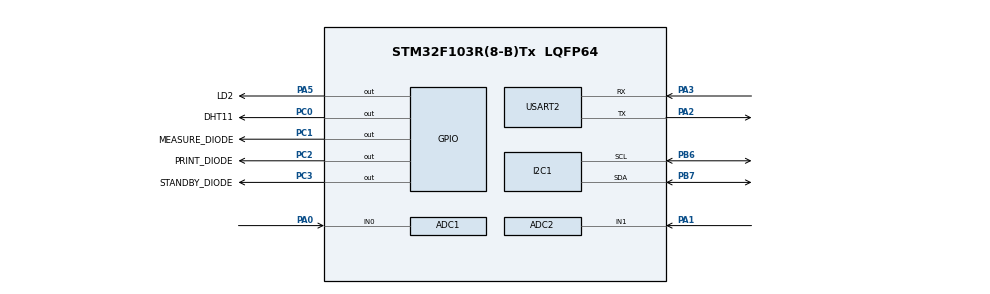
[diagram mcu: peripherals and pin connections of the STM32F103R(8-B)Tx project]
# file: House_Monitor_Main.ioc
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ADC1.Channel-0\#ChannelRegularConversion=ADC_CHANNEL_0
ADC1.ContinuousConvMode=DISABLE
ADC1.NbrOfConversion=1
ADC1.NbrOfConversionFlag=1
ADC1.Rank-0\#ChannelRegularConversion=1
ADC1.SamplingTime-0\#ChannelRegularConversion=ADC_SAMPLETIME_239CYCLES_5
ADC1.master=1
ADC2.Channel-1\#ChannelRegularConversion=ADC_CHANNEL_1
ADC2.NbrOfConversionFlag=1
ADC2.Rank-1\#ChannelRegularConversion=1
ADC2.SamplingTime-1\#ChannelRegularConversion=ADC_SAMPLETIME_1CYCLE_5
IWDG.Prescaler=IWDG_PRESCALER_64
Mcu.Family=STM32F1
Mcu.Name=STM32F103R(8-B)Tx
Mcu.Package=LQFP64
NVIC.PriorityGroup=NVIC_PRIORITYGROUP_4
PA0-WKUP.Signal=ADCx_IN0
PA1.Signal=ADCx_IN1
PA13.Mode=Serial_Wire
PA13.Signal=SYS_JTMS-SWDIO
PA14.Mode=Serial_Wire
PA14.Signal=SYS_JTCK-SWCLK
PA2.Mode=Asynchronous
PA2.Signal=USART2_TX
PA3.Mode=Asynchronous
PA3.Signal=USART2_RX
PA5.GPIO_Label=LD2
PA5.Signal=GPIO_Output
PB6.Mode=I2C
PB6.Signal=I2C1_SCL
PB7.Mode=I2C
PB7.Signal=I2C1_SDA
PC0.GPIO_Label=DHT11
PC0.GPIO_ModeDefaultOutputPP=GPIO_MODE_OUTPUT_OD
PC0.GPIO_PuPd=GPIO_NOPULL
PC0.PinState=GPIO_PIN_SET
PC0.Signal=GPIO_Output
PC1.GPIO_Label=MEASURE_DIODE
PC1.Signal=GPIO_Output
PC2.GPIO_Label=PRINT_DIODE
PC2.Signal=GPIO_Output
PC3.GPIO_Label=STANDBY_DIODE
PC3.Signal=GPIO_Output
ProjectManager.HeapSize=0x200
ProjectManager.StackSize=0x400
ProjectManager.TargetToolchain=STM32CubeIDE
RCC.APB1Freq_Value=8000000
RCC.APB2Freq_Value=8000000
SH.ADCx_IN0.0=ADC1_IN0,IN0
SH.ADCx_IN1.0=ADC2_IN1,IN1
TIM2.Prescaler=7
USART2.VirtualMode=VM_ASYNC
VP_IWDG_VS_IWDG.Mode=IWDG_Activate
VP_RTC_VS_RTC_Activate.Mode=RTC_Enabled
VP_TIM2_VS_ClockSourceINT.Mode=Internal
board=custom

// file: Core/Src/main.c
/* USER CODE BEGIN Header */
/**
  ******************************************************************************
  * @file           : main.c
  * @brief          : Main program body
  ******************************************************************************
  * @attention
  *
  * Copyright (c) 2024 STMicroelectronics.
  * All rights reserved.
  *
  * This software is licensed under terms that can be found in the LICENSE file
  * in the root directory of this software component.
  * If no LICENSE file comes with this software, it is provided AS-IS.
  *
  ******************************************************************************
  */
/* USER CODE END Header */
#include "main.h"
#include "adc.h"
#include "i2c.h"
#include "iwdg.h"
#include "rtc.h"
#include "tim.h"
#include "usart.h"
#include "gpio.h"

/* USER CODE BEGIN Includes */
#include "lps25hb.h"
#include "dht11.h"
#include "eeprom.h"
#include <stdio.h>
#include <math.h>
/* USER CODE END Includes */

/* USER CODE BEGIN PD */
#define SUPPLIED_VOLTAGE 3.3f

#define FIXED_PHOTORESISTOR_RESISTANCE 1000.0f
#define PHOTORESISTOR_EXPONENT 0.95f
#define PHOTORESISTOR_MULTIPLIER 7000000.0f

#define LIGHT_START_ADDR 0x00
#define LIGHT_END_ADDR 0x1F
#define TEMP_START_ADDR 0x20
#define TEMP_END_ADDR 0x3F
#define PRESSURE_START_ADDR 0x40
#define PRESSURE_END_ADDR 0x5F
#define HUMIDITY_START_ADDR 0x60
#define HUMIDITY_END_ADDR 0x7F

#define PRINT_MODE 0b100
#define STANDBY_MODE 0b010
#define MEASURE_MODE 0b001
/* USER CODE END PD */

/* USER CODE BEGIN PV */
static uint8_t current_light_waddr = LIGHT_START_ADDR;
static uint8_t current_temp_waddr = TEMP_START_ADDR;
static uint8_t current_press_waddr = PRESSURE_START_ADDR;
static uint8_t current_humi_waddr = HUMIDITY_START_ADDR;
/* USER CODE END PV */

void SystemClock_Config(void);

/* USER CODE BEGIN 0 */

// Redirecting chars in printf statements to USART2
int __io_putchar(int ch)
{
	if (ch == '\n')
		__io_putchar('\r');

	HAL_UART_Transmit(&huart2, (uint8_t*)&ch, 1, HAL_MAX_DELAY);
	return 1;
}

static float decode_light(uint16_t raw_value)
{
	return raw_value * 100.0f / 4096.0f;
}

static float decode_temperature(uint16_t raw_value)
{
	return raw_value / 100.0f;
}

static float decode_pressure(uint16_t raw_value)
{
	return raw_value / 10.0f;
}

static float decode_humidity(uint16_t raw_value)
{
	return raw_value / 100.0f;
}

static float merge_int_dec_part(const float integer_part, const float decimal_part)
{
	float result = integer_part;

	if (decimal_part <= 100)
		result += decimal_part / 100.0f;
	else
		result += decimal_part / 1000.0f;

	return result;
}

static HAL_StatusTypeDef Write_Measured_Data(const uint16_t phot, const uint16_t temp, const uint16_t press, const uint16_t humi)
{
	uint8_t phot_high = (phot >> 8) & 0xFF;
	uint8_t phot_low = phot & 0xFF;

	uint8_t temp_high = (temp >> 8) & 0xFF;
	uint8_t temp_low = temp & 0xFF;

	uint8_t press_high = (press >> 8) & 0xFF;
	uint8_t press_low = press & 0xFF;

	uint8_t humi_high = (humi >> 8) & 0xFF;
	uint8_t humi_low = humi & 0xFF;

	if (EEPROM_Write(current_light_waddr, (const void*)&phot_high, sizeof(phot_high)) != HAL_OK)
		return HAL_ERROR;

	if (EEPROM_Write(current_light_waddr + 1, (const void*)&phot_low, sizeof(phot_low)) != HAL_OK)
		return HAL_ERROR;

	current_light_waddr += 2;
	if (current_light_waddr > LIGHT_END_ADDR)
		current_light_waddr = LIGHT_START_ADDR;

	if (EEPROM_Write(current_temp_waddr, (const void*)&temp_high, sizeof(temp_high)) != HAL_OK)
		return HAL_ERROR;

	if (EEPROM_Write(current_temp_waddr + 1, (const void*)&temp_low, sizeof(temp_low)) != HAL_OK)
		return HAL_ERROR;

	current_temp_waddr += 2;
	if (current_temp_waddr > TEMP_END_ADDR)
		current_temp_waddr = TEMP_START_ADDR;

	if (EEPROM_Write(current_press_waddr, (const void*)&press_high, sizeof(press_high)) != HAL_OK)
		return HAL_ERROR;

	if (EEPROM_Write(current_press_waddr + 1, (const void*)&press_low, sizeof(press_low)) != HAL_OK)
		return HAL_ERROR;

	current_press_waddr += 2;
	if (current_press_waddr > PRESSURE_END_ADDR)
		current_press_waddr = PRESSURE_START_ADDR;

	if (EEPROM_Write(current_humi_waddr, (const void*)&humi_high, sizeof(humi_high)) != HAL_OK)
		return HAL_ERROR;

	if (EEPROM_Write(current_humi_waddr + 1, (const void*)&humi_low, sizeof(humi_low)) != HAL_OK)
		return HAL_ERROR;

	current_humi_waddr += 2;
	if (current_humi_waddr > HUMIDITY_END_ADDR)
		current_humi_waddr = HUMIDITY_START_ADDR;

	return HAL_OK;
}

static HAL_StatusTypeDef Read_Measured_Data(uint16_t* data, uint8_t addr)
{
	uint8_t buffor[2] = {0};

	if (EEPROM_Read(addr, (void*)buffor, sizeof(buffor)) != HAL_OK)
		return HAL_ERROR;

	*data = (uint16_t)buffor[0] << 8 | buffor[1];

	return HAL_OK;
}

static HAL_StatusTypeDef Take_Measurements(uint16_t* phot, uint16_t* temp, uint16_t* press, uint16_t* humi)
{
	uint8_t dht_vals[4] = {0};

	if (DHT11_Read(dht_vals) != HAL_OK)
		return HAL_ERROR;

	HAL_ADC_Start(&hadc1);
	HAL_ADC_PollForConversion(&hadc1, HAL_MAX_DELAY);
	*phot = HAL_ADC_GetValue(&hadc1);

	float lps_temp = LPS_Read_Temp();
	float dht_temp = merge_int_dec_part((float)dht_vals[2], (float)dht_vals[3]);
	float average_temp = (lps_temp + dht_temp) / 2.0f;
	*temp = average_temp * 100;

	float pressure = LPS_Read_Pressure();
	*press = pressure * 10;

	float humidity = merge_int_dec_part((float)dht_vals[0], (float)dht_vals[1]);
	*humi = humidity * 100;

	return HAL_OK;
}

static HAL_StatusTypeDef Print_Measured_Data(uint8_t current_addr, uint8_t max_addr, float (*decode_fnc)(uint16_t))
{
	while (current_addr < max_addr) {
		uint16_t data = 0;

		if (Read_Measured_Data(&data, current_addr) != HAL_OK)
			return HAL_ERROR;

		printf("%.2f ", (*decode_fnc)(data));

		current_addr += 2;
	}
	printf("\n");

	return HAL_OK;
}

static void Diode_Signal(uint8_t bit_mask)
{
	HAL_GPIO_WritePin(PRINT_DIODE_GPIO_Port, PRINT_DIODE_Pin, bit_mask & 0x04);
	HAL_GPIO_WritePin(STANDBY_DIODE_GPIO_Port, STANDBY_DIODE_Pin, bit_mask & 0x02);
	HAL_GPIO_WritePin(MEASURE_DIODE_GPIO_Port, MEASURE_DIODE_Pin, bit_mask & 0x01);
}

/* USER CODE END 0 */

int main(void)
{

  /* MCU Configuration--------------------------------------------------------*/

  /* Reset of all peripherals, Initializes the Flash interface and the Systick. */
  HAL_Init();

  /* Configure the system clock */
  SystemClock_Config();

  /* Initialize all configured peripherals */
  MX_GPIO_Init();
  MX_USART2_UART_Init();
  MX_ADC1_Init();
  MX_I2C1_Init();
  MX_RTC_Init();
  MX_TIM2_Init();
  MX_ADC2_Init();
  MX_IWDG_Init();
  /* USER CODE BEGIN 2 */
  //Initialize ADC for photoresistor reading
  HAL_ADCEx_Calibration_Start(&hadc1);
  HAL_ADCEx_Calibration_Start(&hadc2);

  // Initialize LPS25HB sensor and timer
  // necessary for its functioning
  HAL_TIM_Base_Start(&htim2);
  if (LPS_Init() != HAL_OK)
	  Error_Handler();

  //LPS_Calibrate(32);

  // Clear EEPROM memory
  if (EEPROM_Reset(0) != HAL_OK)
  	  Error_Handler();
  /* USER CODE END 2 */

  /* Infinite loop */
  /* USER CODE BEGIN WHILE */
  HAL_IWDG_Refresh(&hiwdg);
  HAL_Delay(1000);

  while (1)
  {
	  HAL_ADC_Start(&hadc2);
	  HAL_ADC_PollForConversion(&hadc2, HAL_MAX_DELAY);
	  uint16_t pot_reading = HAL_ADC_GetValue(&hadc2);

	  if (pot_reading < 1000) { // Measuring mode

		  Diode_Signal(MEASURE_MODE);

		  uint16_t phot = 0, temp = 0, press = 0, humi = 0;

		  if (Take_Measurements(&phot, &temp, &press, &humi) != HAL_OK)
			  Error_Handler();

		  if (Write_Measured_Data(phot, temp, press, humi) != HAL_OK)
			  Error_Handler();

	  } else if (pot_reading > 3000) { // Reading mode

		  Diode_Signal(PRINT_MODE);

		  printf("LIGHT: ");
		  if (Print_Measured_Data(LIGHT_START_ADDR, LIGHT_END_ADDR, &decode_light) != HAL_OK)
			  Error_Handler();

		  printf("TEMPERATURE: ");
		  if (Print_Measured_Data(TEMP_START_ADDR, TEMP_END_ADDR, &decode_temperature) != HAL_OK)
			  Error_Handler();

		  printf("PRESSURE: ");
		  if (Print_Measured_Data(PRESSURE_START_ADDR, PRESSURE_END_ADDR, &decode_pressure) != HAL_OK)
			  Error_Handler();

		  printf("HUMIDITY: ");
		  if (Print_Measured_Data(HUMIDITY_START_ADDR, HUMIDITY_END_ADDR, &decode_humidity) != HAL_OK)
			  Error_Handler();

		  printf("END\n");
	  } else {
		  Diode_Signal(STANDBY_MODE);
	  }

	  HAL_IWDG_Refresh(&hiwdg);
	  HAL_Delay(1000);
    /* USER CODE END WHILE */

  }
}

void SystemClock_Config(void)
{
  RCC_OscInitTypeDef RCC_OscInitStruct = {0};
  RCC_ClkInitTypeDef RCC_ClkInitStruct = {0};
  RCC_PeriphCLKInitTypeDef PeriphClkInit = {0};

  /** Initializes the RCC Oscillators according to the specified parameters
  * in the RCC_OscInitTypeDef structure.
  */
  RCC_OscInitStruct.OscillatorType = RCC_OSCILLATORTYPE_HSI|RCC_OSCILLATORTYPE_LSI;
  RCC_OscInitStruct.HSIState = RCC_HSI_ON;
  RCC_OscInitStruct.HSICalibrationValue = RCC_HSICALIBRATION_DEFAULT;
  RCC_OscInitStruct.LSIState = RCC_LSI_ON;
  RCC_OscInitStruct.PLL.PLLState = RCC_PLL_NONE;
  if (HAL_RCC_OscConfig(&RCC_OscInitStruct) != HAL_OK)
  {
    Error_Handler();
  }

  /** Initializes the CPU, AHB and APB buses clocks
  */
  RCC_ClkInitStruct.ClockType = RCC_CLOCKTYPE_HCLK|RCC_CLOCKTYPE_SYSCLK
                              |RCC_CLOCKTYPE_PCLK1|RCC_CLOCKTYPE_PCLK2;
  RCC_ClkInitStruct.SYSCLKSource = RCC_SYSCLKSOURCE_HSI;
  RCC_ClkInitStruct.AHBCLKDivider = RCC_SYSCLK_DIV1;
  RCC_ClkInitStruct.APB1CLKDivider = RCC_HCLK_DIV1;
  RCC_ClkInitStruct.APB2CLKDivider = RCC_HCLK_DIV1;

  if (HAL_RCC_ClockConfig(&RCC_ClkInitStruct, FLASH_LATENCY_0) != HAL_OK)
  {
    Error_Handler();
  }
  PeriphClkInit.PeriphClockSelection = RCC_PERIPHCLK_RTC|RCC_PERIPHCLK_ADC;
  PeriphClkInit.RTCClockSelection = RCC_RTCCLKSOURCE_LSI;
  PeriphClkInit.AdcClockSelection = RCC_ADCPCLK2_DIV2;
  if (HAL_RCCEx_PeriphCLKConfig(&PeriphClkInit) != HAL_OK)
  {
    Error_Handler();
  }
}

void Error_Handler(void)
{
  __disable_irq();
  while (1)
  {
  }
}
